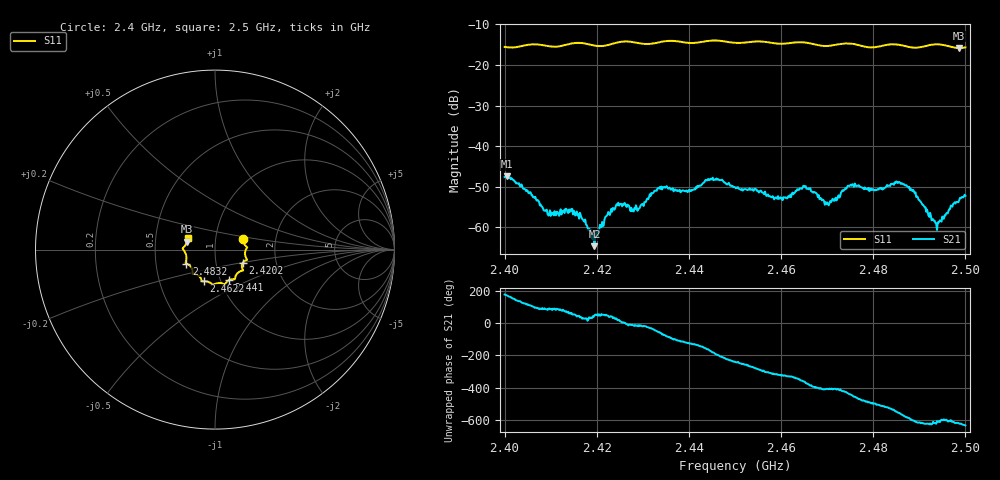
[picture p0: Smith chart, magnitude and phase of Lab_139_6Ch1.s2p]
# Hz S RI R 50
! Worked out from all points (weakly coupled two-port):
!   601 points, 2.4 GHz to 2.5 GHz, reference 50 ohm
!   highest |S21| = -47.45 dB at 2.4005 GHz (marker M1); lowest = -64.6 dB at 2.4195 GHz (marker M2)
!   lowest |S11| = -15.8 dB at 2.4987 GHz (marker M3), VSWR 1.39, Z = 36.4 + j3.33 ohm
!   |S11| at or under -10 dB: start of sweep to end of sweep
!   S12 and S22 are empty: the file has one direction only
!   S11 on the Smith chart (normalised r, x): 2.4 GHz: 1.36, +0.17; 2.4202 GHz: 1.35, -0.20; 2.441 GHz: 1.09, -0.39; 2.4622 GHz: 0.83, -0.30; 2.4832 GHz: 0.72, -0.12; 2.5 GHz: 0.73, +0.10
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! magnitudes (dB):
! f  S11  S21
! 2.4 GHz  -15.5  -47.6
! 2.4005 GHz  -15.6  -47.4
! 2.4092 GHz  -15.3  -55.7
! 2.4167 GHz  -14.6  -57.5
! 2.4195 GHz  -15.2  -64.6
! 2.4202 GHz  -15.3  -62.4
! 2.4247 GHz  -14.4  -53.9
! 2.4292 GHz  -14.6  -55.4
! 2.4333 GHz  -14.4  -50.3
! 2.441 GHz  -14.6  -50.7
! 2.4447 GHz  -14.0  -48.0
! 2.45 GHz  -14.5  -50.1
! 2.4622 GHz  -14.5  -52.6
! 2.4667 GHz  -14.7  -51.2
! 2.47 GHz  -15.3  -53.9
! 2.475 GHz  -14.7  -49.6
! 2.4832 GHz  -15.0  -49.8
! 2.4833 GHz  -15.0  -49.7
! 2.4883 GHz  -15.7  -50.9
! 2.4937 GHz  -14.9  -59.1
! 2.4987 GHz  -15.8  -53.2
! 2.5 GHz  -15.6  -52.2
